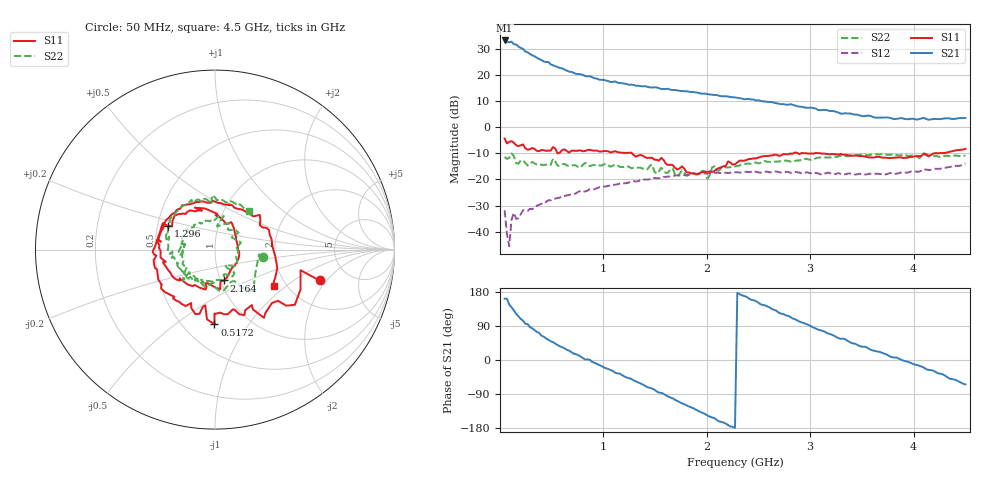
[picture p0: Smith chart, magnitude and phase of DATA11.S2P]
! Network Analyzer HP8722ES.07.74: Oct 30, 2002 Serial No. US39175660
! Hewlett-Packard
! 30 May 2012  18:03:17
! Frequency  S11  S21  S12  S22
# HZ  S  DB R  50
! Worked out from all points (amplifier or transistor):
!   201 points, 50 MHz to 4.5 GHz, reference 50 ohm
!   highest |S21| = 33.3 dB at 50 MHz (marker M1)
!   |S21| within 3 dB of that: start of sweep to 214.4 MHz
!   unconditionally stable (mu >= 1): 68.23 MHz to 109.6 MHz; 1.395 GHz to 1.467 GHz; 1.48 GHz to end of sweep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
!   at 784.2 MHz: K = 0.94, MSG = 22.3 dB, |S12| = -24.4 dB
!   at 2.275 GHz: K = 1.19, MAG = 11.7 dB, |S12| = -17.3 dB
!   at 4.5 GHz: K = 1.42, MAG = 4.9 dB, |S12| = -13.9 dB
!   S11 on the Smith chart (normalised r, x): 50 MHz: 3.10, -1.69; 517.2 MHz: 0.70, -0.71; 1.296 GHz: 0.57, +0.17; 2.164 GHz: 1.04, -0.37; 4.5 GHz: 1.74, -0.82
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5e7  -4.33 -16.5  33.27 161.9  -31.84 12.4  -11.33 -8.2
7.225e7  -6.19 -13.5  32.75 161.7  -40.81 88.8  -12.15 -6.2
9.45e7  -5.58 -25.0  32.58 146.1  -45.59 36.5  -11.75 -29.2
1.1675e8  -5.34 -34.6  32.83 139.1  -35.43 58.9  -10.05 -47.4
1.39e8  -5.93 -38.2  31.80 131.0  -32.77 42.6  -11.02 -52.8
1.6125e8  -6.89 -39.1  31.73 122.4  -35.12 41.2  -13.76 -58.4
2.0575e8  -6.91 -51.6  30.41 108.2  -33.32 36.9  -12.71 -77.4
2.28e8  -6.60 -54.4  30.05 103.8  -31.81 41.9  -12.70 -83.7
2.5025e8  -8.07 -57.6  29.02 95.7  -31.90 39.9  -13.65 -90.6
2.725e8  -8.61 -56.5  28.74 94.7  -32.07 30.8  -14.68 -92.1
2.9475e8  -8.46 -63.6  28.07 86.5  -31.28 32.2  -14.01 -100.6
4.06e8  -8.72 -78.7  25.77 64.1  -29.30 23.0  -14.34 -124.8
5.1725e8  -7.60 -90.4  23.75 47.2  -27.53 19.2  -12.05 -135.9
8.065e8  -9.21 -130.7  20.05 4.9  -24.60 -11.6  -14.35 -171.4
1.118e9  -9.17 -178.0  17.56 -33.5  -22.02 -41.0  -14.26 147.0
1.296e9  -10.62 153.1  16.21 -53.7  -20.71 -61.0  -15.53 118.7
1.54075e9  -12.79 108.4  14.97 -86.1  -19.56 -86.2  -16.87 74.8
2.16375e9  -14.95 -73.5  11.86 -165.0  -17.47 -157.8  -15.09 -76.4
2.275e9  -14.17 -106.1  11.45 -178.7  -17.26 -171.4  -15.00 -99.1
3.0315e9  -10.12 154.2  7.37 85.7  -17.74 112.0  -12.29 -176.2
3.76575e9  -11.81 78.5  3.66 10.3  -17.61 53.6  -10.61 120.7
4.5e9  -8.26 -31.2  3.57 -64.5  -13.86 -4.9  -10.80 48.7
